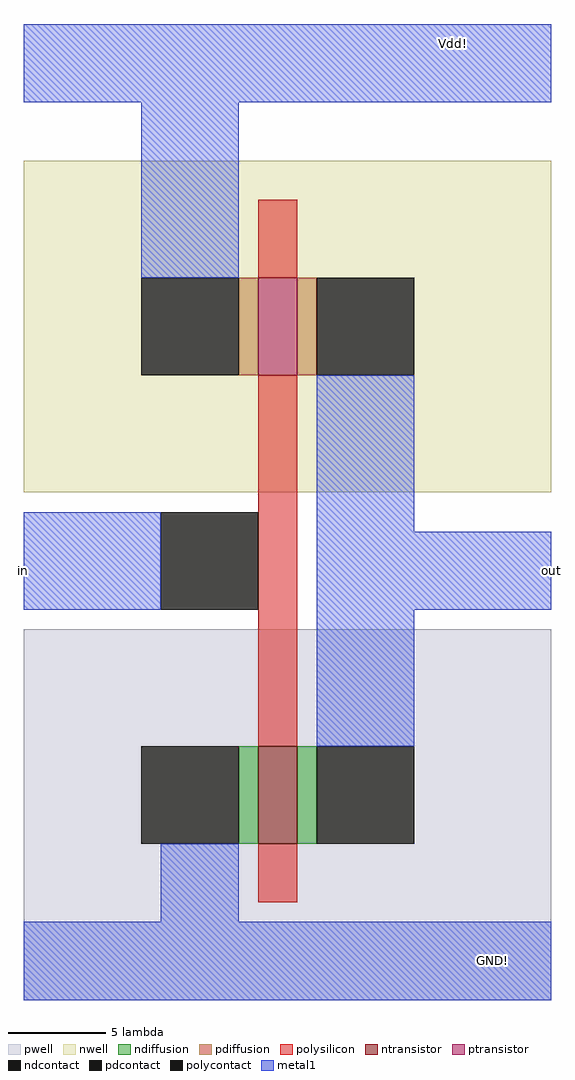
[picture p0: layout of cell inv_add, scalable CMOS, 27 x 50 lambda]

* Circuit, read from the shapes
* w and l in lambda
.subckt inv_add GND! Vdd! in out
M1 out in GND! VSUBS nfet w=5 l=2
M2 out in Vdd! n1 pfet w=5 l=2
.ends

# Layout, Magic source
magic
tech scmos
<< nwell >>
rect -5 0 22 17
<< pwell >>
rect -5 -26 22 -7
<< ntransistor >>
rect 7 -18 9 -13
<< ptransistor >>
rect 7 6 9 11
<< ndiffusion >>
rect 6 -18 7 -13
rect 9 -18 10 -13
<< pdiffusion >>
rect 6 6 7 11
rect 9 6 10 11
<< ndcontact >>
rect 1 -18 6 -13
rect 10 -18 15 -13
<< pdcontact >>
rect 1 6 6 11
rect 10 6 15 11
<< polysilicon >>
rect 7 11 9 15
rect 7 -13 9 6
rect 7 -21 9 -18
<< polycontact >>
rect 2 -6 7 -1
<< metal1 >>
rect -5 20 22 24
rect 1 11 6 20
rect -5 -6 2 -1
rect 10 -2 15 6
rect 10 -6 22 -2
rect 10 -13 15 -6
rect 2 -22 6 -18
rect -5 -26 22 -22
<< labels >>
rlabel metal1 -5 -6 -5 -2 3 in
rlabel metal1 22 -6 22 -2 7 out
rlabel metal1 17 23 17 23 6 Vdd!
rlabel metal1 19 -24 19 -24 8 GND!
<< end >>
